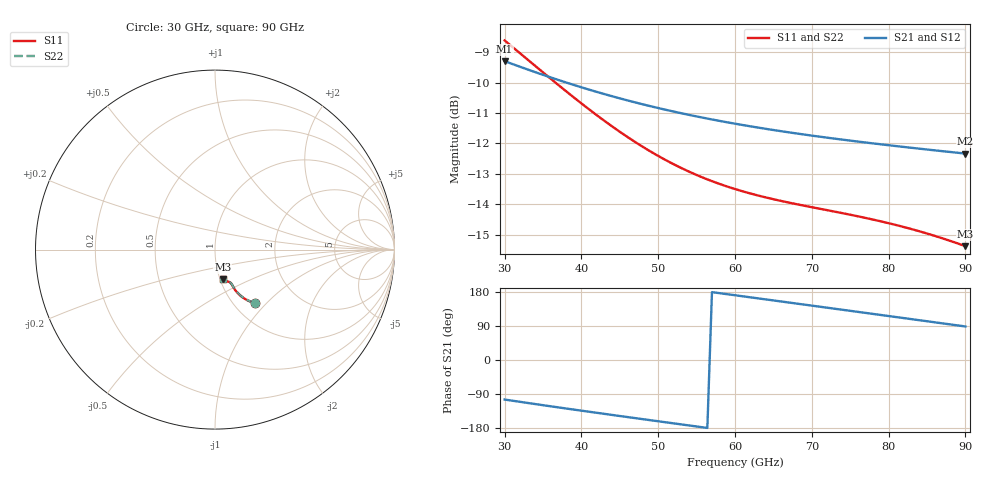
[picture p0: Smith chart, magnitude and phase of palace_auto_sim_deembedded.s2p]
! Created with skrf 1.11.0 (http://scikit-rf.org).
# GHz S DB R 50.0
!freq dBS11 angS11 dBS21 angS21 dBS12 angS12 dBS22 angS22
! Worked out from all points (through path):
!   101 points, 30 GHz to 90 GHz, reference 50 ohm
!   highest |S21| = -9.29 dB at 30 GHz (marker M1); lowest = -12.3 dB at 90 GHz (marker M2)
!   group delay of S21, straight-line fit = 7.68 ps
!   lowest |S11| = -15.4 dB at 90 GHz (marker M3), VSWR 1.41, Z = 51.5 - j17.5 ohm
!   |S11| at or under -10 dB: 36.62 GHz to end of sweep
!   |S22| runs from -15.3 to -8.6 dB; largest |S21 - S12| = 4.2e-14
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30  -8.61 -53.4  -9.29 -104.3  -9.29 -104.3  -8.62 -53.3
32.4  -9.12 -55.8  -9.51 -111.5  -9.51 -111.5  -9.12 -55.7
34.8  -9.62 -57.9  -9.73 -118.6  -9.73 -118.6  -9.63 -57.7
37.2  -10.12 -59.6  -9.93 -125.6  -9.93 -125.6  -10.12 -59.4
40.2  -10.72 -61.3  -10.17 -134.2  -10.17 -134.2  -10.72 -61.1
42.6  -11.18 -62.3  -10.35 -141.0  -10.35 -141.0  -11.18 -62.1
45  -11.62 -63.0  -10.52 -147.8  -10.52 -147.8  -11.61 -62.8
47.4  -12.02 -63.5  -10.68 -154.5  -10.68 -154.5  -12.01 -63.3
50.4  -12.47 -63.9  -10.86 -162.8  -10.86 -162.8  -12.45 -63.6
52.8  -12.78 -64.1  -11.00 -169.4  -11.00 -169.4  -12.76 -63.8
55.2  -13.06 -64.2  -11.12 -176.0  -11.12 -176.0  -13.03 -63.9
57.6  -13.30 -64.3  -11.24 177.4  -11.24 177.4  -13.26 -64.0
60  -13.50 -64.5  -11.35 170.9  -11.35 170.9  -13.46 -64.2
64.8  -13.82 -65.0  -11.55 157.7  -11.55 157.7  -13.77 -64.8
67.2  -13.96 -65.5  -11.64 151.2  -11.64 151.2  -13.90 -65.3
70.2  -14.11 -66.3  -11.75 143.0  -11.75 143.0  -14.04 -66.2
73.2  -14.25 -67.3  -11.85 134.7  -11.85 134.7  -14.18 -67.2
75.6  -14.38 -68.3  -11.93 128.1  -11.93 128.1  -14.30 -68.2
80.4  -14.65 -70.5  -12.07 114.9  -12.07 114.9  -14.57 -70.5
85.2  -14.98 -72.9  -12.21 101.7  -12.21 101.7  -14.90 -73.0
87.6  -15.17 -74.1  -12.27 95.1  -12.27 95.1  -15.09 -74.3
90  -15.38 -75.3  -12.33 88.5  -12.33 88.5  -15.29 -75.5
